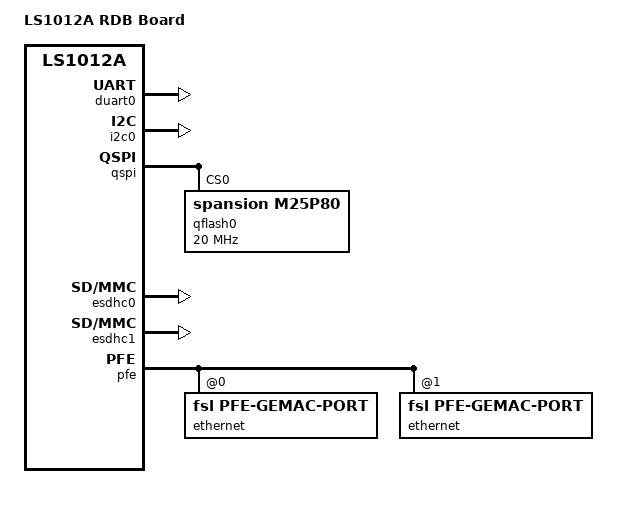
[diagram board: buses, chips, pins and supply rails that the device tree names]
/*
 * Device Tree file for Freescale LS1012A RDB Board.
 *
 * Copyright 2016, Freescale Semiconductor
 *
 * This file is dual-licensed: you can use it either under the terms
 * of the GPLv2 or the X11 license, at your option. Note that this dual
 * licensing only applies to this file, and not this project as a
 * whole.
 *
 *  a) This library is free software; you can redistribute it and/or
 *     modify it under the terms of the GNU General Public License as
 *     published by the Free Software Foundation; either version 2 of the
 *     License, or (at your option) any later version.
 *
 *     This library is distributed in the hope that it will be useful,
 *     but WITHOUT ANY WARRANTY; without even the implied warranty of
 *     MERCHANTABILITY or FITNESS FOR A PARTICULAR PURPOSE.  See the
 *     GNU General Public License for more details.
 *
 * Or, alternatively,
 *
 *  b) Permission is hereby granted, free of charge, to any person
 *     obtaining a copy of this software and associated documentation
 *     files (the "Software"), to deal in the Software without
 *     restriction, including without limitation the rights to use,
 *     copy, modify, merge, publish, distribute, sublicense, and/or
 *     sell copies of the Software, and to permit persons to whom the
 *     Software is furnished to do so, subject to the following
 *     conditions:
 *
 *     The above copyright notice and this permission notice shall be
 *     included in all copies or substantial portions of the Software.
 *
 *     THE SOFTWARE IS PROVIDED "AS IS", WITHOUT WARRANTY OF ANY KIND,
 *     EXPRESS OR IMPLIED, INCLUDING BUT NOT LIMITED TO THE WARRANTIES
 *     OF MERCHANTABILITY, FITNESS FOR A PARTICULAR PURPOSE AND
 *     NONINFRINGEMENT. IN NO EVENT SHALL THE AUTHORS OR COPYRIGHT
 *     HOLDERS BE LIABLE FOR ANY CLAIM, DAMAGES OR OTHER LIABILITY,
 *     WHETHER IN AN ACTION OF CONTRACT, TORT OR OTHERWISE, ARISING
 *     FROM, OUT OF OR IN CONNECTION WITH THE SOFTWARE OR THE USE OR
 *     OTHER DEALINGS IN THE SOFTWARE.
 */
/dts-v1/;

#include "fsl-ls1012a.dtsi"

/ {
	model = "LS1012A RDB Board";
	compatible = "fsl,ls1012a-rdb", "fsl,ls1012a";

	aliases {
		crypto = &crypto;
		ethernet0 = &pfe_mac0;
		ethernet1 = &pfe_mac1;
	};
};

&duart0 {
	status = "okay";
};

&i2c0 {
	status = "okay";
};

&qspi {
	num-cs = <2>;
	bus-num = <0>;
	status = "okay";

	qflash0: s25fs512s@0 {
		compatible = "spansion,m25p80";
		#address-cells = <1>;
		#size-cells = <1>;
		spi-max-frequency = <20000000>;
		m25p,fast-read;
		reg = <0>;
	};
};

&esdhc0 {
	status = "okay";
};

&esdhc1 {
	status = "okay";
};

&pfe {
	status = "okay";
	ethernet@0 {
		compatible = "fsl,pfe-gemac-port";
		#address-cells = <1>;
		#size-cells = <0>;
		reg = <	0x0 >;	/* GEM_ID */
		fsl,gemac-bus-id = <0x0>;	/* BUS_ID */
		fsl,gemac-phy-id = <0x2>;	/* PHY_ID */
		fsl,mdio-mux-val = <0x0>;
		local-mac-address = [ 00 1A 2B 3C 4D 5E ];
		phy-mode = "sgmii";
		fsl,pfe-gemac-if-name = "eth0";
		fsl,pfe-phy-if-flags = <0x0>;
		fsl,pfe-gemac-mode = <0x1B00>; /* GEMAC_SW_CONF | GEMAC_SW_FULL_DUPLEX | GEMAC_SW_SPEED_1G */

		mdio@0 {
			reg = <0x1>; /* enabled/disabled */
			fsl,mdio-phy-mask = <0xFFFFFFF9>;
		};
	};

	ethernet@1 {
		compatible = "fsl,pfe-gemac-port";
		#address-cells = <1>;
		#size-cells = <0>;
		reg = <	0x1 >;	/* GEM_ID */
		fsl,gemac-bus-id = < 0x1 >;	/* BUS_ID */
		fsl,gemac-phy-id = < 0x1 >;	/* PHY_ID */
		fsl,mdio-mux-val = <0x0>;
		local-mac-address = [ 00 AA BB CC DD EE ];
		phy-mode = "rgmii";
		fsl,pfe-gemac-if-name = "eth2";
		fsl,pfe-phy-if-flags = <0x0>;
		fsl,pfe-gemac-mode = <0x1B00>; /* GEMAC_SW_CONF | GEMAC_SW_FULL_DUPLEX | GEMAC_SW_SPEED_1G */
		mdio@0 {
			reg = <0x0>; /* enabled/disabled */
			fsl,mdio-phy-mask = <0xFFFFFFF9>;
		};
	};
};
